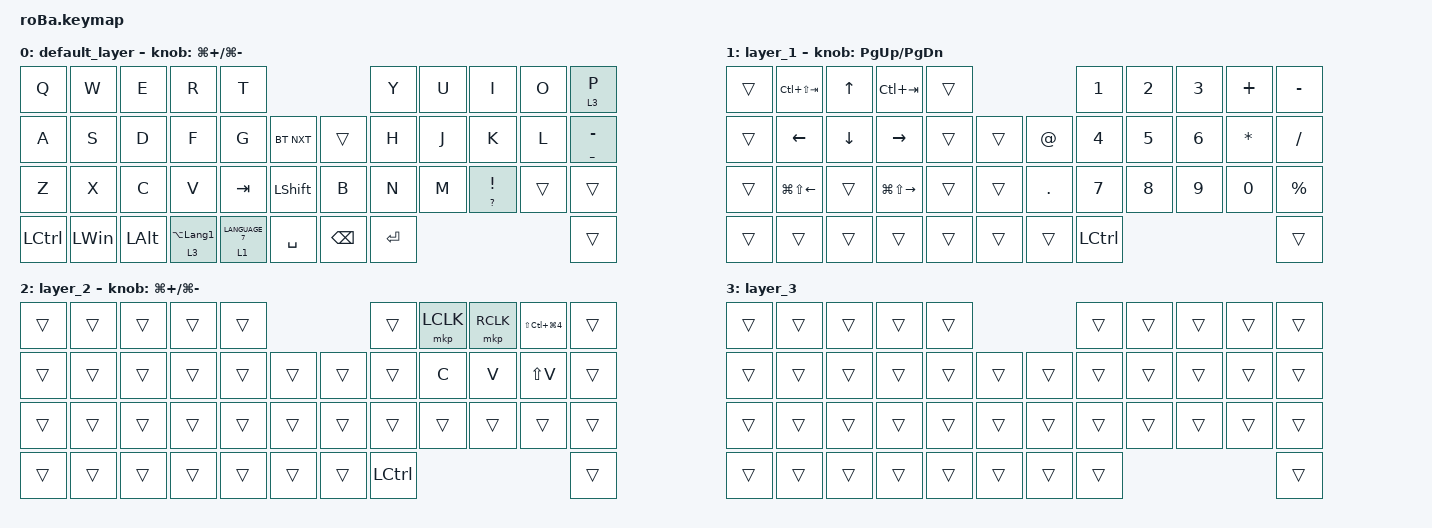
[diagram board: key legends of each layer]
#include <behaviors.dtsi>
#include <dt-bindings/zmk/bt.h>
#include <dt-bindings/zmk/keys.h>
#include <dt-bindings/zmk/pointing.h>

&mt {
    flavor = "balanced";
    quick-tap-ms = <0>;
};

&trackball {
    automouse-layer = <2>;
    scroll-layers = <3>;

    // arrows {
    //     layers = <3>;
    //     bindings =
    //         <&kp RIGHT_ARROW>,
    //         <&kp LEFT_ARROW>,
    //         <&kp UP_ARROW>,
    //         <&kp DOWN_ARROW>;
    //     tick = <10>;
    //     wait-ms = <5>;
    //     tap-ms = <5>;
    // };
};

/ {
    combos { compatible = "zmk,combos"; };

    macros {
        to_layer_0: to_layer_0 {
            compatible = "zmk,behavior-macro-one-param";
            #binding-cells = <1>;
            bindings = <&to 0 &macro_param_1to1 &kp MACRO_PLACEHOLDER>;
            label = "TO_LAYER_0";
        };
    };

    behaviors {
        lt_to_layer_0: lt_to_layer_0 {
            compatible = "zmk,behavior-hold-tap";
            label = "LAYER_TAP_TO_0";
            bindings = <&mo>, <&to_layer_0>;

            #binding-cells = <2>;
            tapping-term-ms = <200>;
        };
    };

    keymap {
        compatible = "zmk,keymap";

        default_layer {
            bindings = <
&kp Q      &kp W         &kp E         &kp R                 &kp T                                                           &kp Y      &kp U  &kp I                     &kp O   &lt_to_layer_0 3 P
&kp A      &kp S         &kp D         &kp F                 &kp G                        &bt BT_NXT          &trans         &kp H      &kp J  &kp K                     &kp L   &mt UNDERSCORE MINUS
&kp Z      &kp X         &kp C         &kp V                 &kp TAB                      &kp LEFT_SHIFT      &kp B          &kp N      &kp M  &mt QUESTION EXCLAMATION  &trans  &trans
&kp LCTRL  &kp LEFT_WIN  &kp LEFT_ALT  &lt 3 LA(LANGUAGE_1)  &lt_to_layer_0 1 LANGUAGE_7  &kp SPACE           &kp BACKSPACE  &kp ENTER                                           &trans
            >;

            sensor-bindings = <&inc_dec_kp LG(PLUS) LG(MINUS)>;
        };

        layer_1 {
            bindings = <
&trans  &kp LC(LS(TAB))   &kp UP_ARROW    &kp LC(TAB)        &trans                           &kp N1            &kp N2  &kp N3  &kp PLUS      &kp MINUS
&trans  &kp LEFT          &kp DOWN_ARROW  &kp RIGHT          &trans  &trans      &kp AT_SIGN  &kp N4            &kp N5  &kp N6  &kp ASTERISK  &kp FSLH
&trans  &kp LG(LS(LEFT))  &trans          &kp LG(LS(RIGHT))  &trans  &trans      &kp DOT      &kp N7            &kp N8  &kp N9  &kp N0        &kp PERCENT
&trans  &trans            &trans          &trans             &trans  &trans      &trans       &kp LEFT_CONTROL                                &trans
            >;

            sensor-bindings = <&inc_dec_kp PAGE_UP PAGE_DOWN>;
        };

        layer_2 {
            bindings = <
&trans  &trans  &trans  &trans  &trans                      &trans            &mkp LCLK  &mkp RCLK  &kp LS(LC(LG(NUMBER_4)))  &trans
&trans  &trans  &trans  &trans  &trans  &trans      &trans  &trans            &kp C      &kp V      &kp LS(V)                 &trans
&trans  &trans  &trans  &trans  &trans  &trans      &trans  &trans            &trans     &trans     &trans                    &trans
&trans  &trans  &trans  &trans  &trans  &trans      &trans  &kp LEFT_CONTROL                                                  &trans
            >;

            sensor-bindings = <&inc_dec_kp LG(PLUS) LG(MINUS)>;
        };

        layer_3 {
            bindings = <
&trans  &trans  &trans  &trans  &trans                      &trans  &trans  &trans  &trans  &trans
&trans  &trans  &trans  &trans  &trans  &trans      &trans  &trans  &trans  &trans  &trans  &trans
&trans  &trans  &trans  &trans  &trans  &trans      &trans  &trans  &trans  &trans  &trans  &trans
&trans  &trans  &trans  &trans  &trans  &trans      &trans  &trans                          &trans
            >;
        };
    };
};
